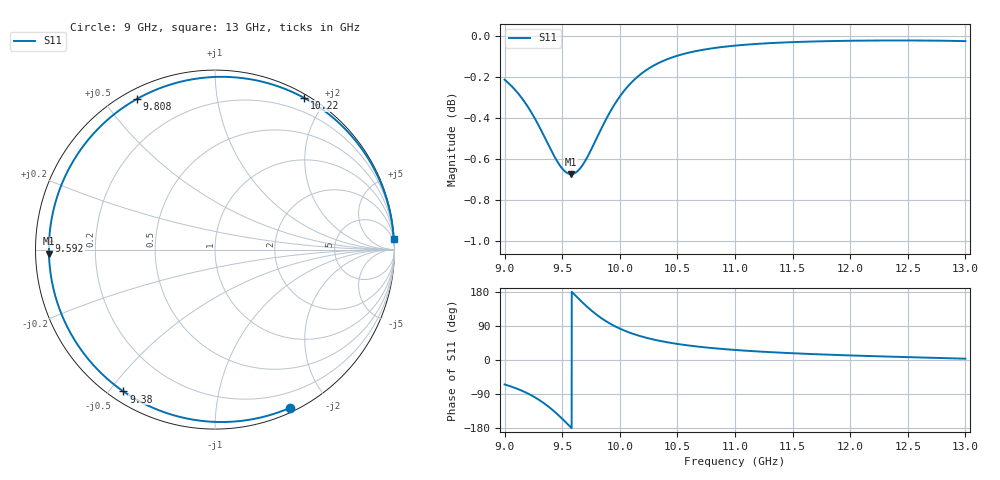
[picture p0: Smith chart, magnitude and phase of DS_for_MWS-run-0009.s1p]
! TOUCHSTONE file generated by CST DESIGN STUDIO
! Date and time: Tue Feb  4 12:48:02 2025
! Project name: C:\Work\MatlabApps\UnitCellOptimizationMatlab\CST\unitcell.cst
! Tree item: Tasks\Sweep1\SPara1\S-Parameters
! Header version: 2024
! Port assignment regex: !\s*Touchstone port\s*([0-9]+)\s*=\s*(CST MWS port|CST DES external port|CST DES block port)\s*(.+)\s* \(\"(.*)\"\)(\s*mode\s*([0-9]+))?.*
! Touchstone port assignment:
! Touchstone port 1 = CST DES external port 1 ("")
# GHz S MA R 50
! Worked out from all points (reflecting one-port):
!   4001 points, 9 GHz to 13 GHz, reference 50 ohm
!   lowest |S11| = -0.7 dB at 9.578 GHz (marker M1), VSWR 25.81, Z = 1.94 - j0.611 ohm
!   phase of S11 starts at -65 deg and turns -292 deg over the sweep
!   S11 on the Smith chart (normalised r, x): 9 GHz: 0.04, -1.58; 9.38 GHz: 0.04, -0.54; 9.592 GHz: 0.04, +0.03; 9.808 GHz: 0.04, +0.61; 10.22 GHz: 0.04, +1.74; 13 GHz: 2, +33
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9  0.9756 -64.5
9.046  0.973 -68.9
9.114  0.9684 -76.5
9.231  0.958 -93.0
9.31  0.9492 -107.5
9.38  0.9407 -122.8
9.439  0.9339 -137.8
9.5  0.9283 -155.0
9.54  0.9261 -166.9
9.578  0.9254 -178.6
9.592  0.9255 177.1
9.647  0.9278 160.3
9.708  0.9332 142.7
9.758  0.939 129.4
9.808  0.9453 117.4
9.85  0.9506 108.3
9.895  0.9559 99.6
10  0.9665 82.9
10.104  0.9743 70.2
10.218  0.9803 59.6
10.348  0.9851 50.5
10.5  0.9888 42.4
10.72  0.9921 34.0
11  0.9944 26.5
11.5  0.9963 17.8
12  0.9971 12.0
12.5  0.9973 7.5
13  0.9969 3.4
